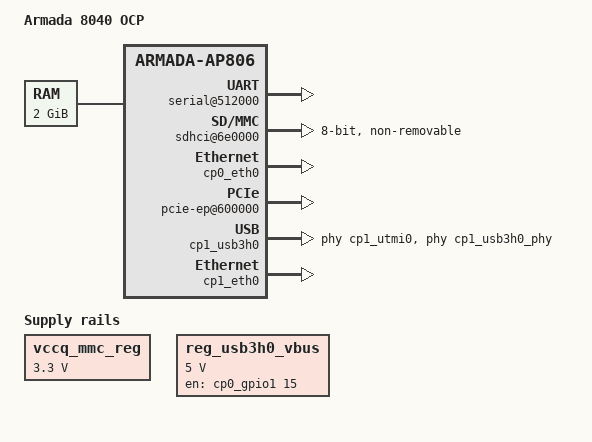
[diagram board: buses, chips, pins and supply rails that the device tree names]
/*
 * Copyright (C) 2017 Marvell Technology Group Ltd.
 *
 * This file is dual-licensed: you can use it either under the terms
 * of the GPLv2 or the X11 license, at your option. Note that this dual
 * licensing only applies to this file, and not this project as a
 * whole.
 *
 *  a) This library is free software; you can redistribute it and/or
 *     modify it under the terms of the GNU General Public License as
 *     published by the Free Software Foundation; either version 2 of the
 *     License, or (at your option) any later version.
 *
 *     This library is distributed in the hope that it will be useful,
 *     but WITHOUT ANY WARRANTY; without even the implied warranty of
 *     MERCHANTABILITY or FITNESS FOR A PARTICULAR PURPOSE.  See the
 *     GNU General Public License for more details.
 *
 * Or, alternatively,
 *
 *  b) Permission is hereby granted, free of charge, to any person
 *     obtaining a copy of this software and associated documentation
 *     files (the "Software"), to deal in the Software without
 *     restriction, including without limitation the rights to use,
 *     copy, modify, merge, publish, distribute, sublicense, and/or
 *     sell copies of the Software, and to permit persons to whom the
 *     Software is furnished to do so, subject to the following
 *     conditions:
 *
 *     The above copyright notice and this permission notice shall be
 *     included in all copies or substantial portions of the Software.
 *
 *     THE SOFTWARE IS PROVIDED "AS IS", WITHOUT WARRANTY OF ANY KIND,
 *     EXPRESS OR IMPLIED, INCLUDING BUT NOT LIMITED TO THE WARRANTIES
 *     OF MERCHANTABILITY, FITNESS FOR A PARTICULAR PURPOSE AND
 *     NONINFRINGEMENT. IN NO EVENT SHALL THE AUTHORS OR COPYRIGHT
 *     HOLDERS BE LIABLE FOR ANY CLAIM, DAMAGES OR OTHER LIABILITY,
 *     WHETHER IN AN ACTION OF CONTRACT, TORT OR OTHERWISE, ARISING
 *     FROM, OUT OF OR IN CONNECTION WITH THE SOFTWARE OR THE USE OR
 *     OTHER DEALINGS IN THE SOFTWARE.
 */

/*
 * Device Tree file for OCP Armada 8040 board platform
 */

#include "armada-8040.dtsi"

/ {
	model = "Armada 8040 OCP";
	compatible = "marvell,armada8040-ocp", "marvell,armada8040",
			"marvell,armada-ap806-quad", "marvell,armada-ap806";

	memory@00000000 {
		device_type = "memory";
		reg = <0x0 0x0 0x0 0x80000000>;
	};

	aliases {
		ethernet0 = &cp0_emac0;
		ethernet1 = &cp1_emac0;
	};

	ap806 {
		config-space {
			serial@512000 {
				status = "okay";
			};
			sdhci@6e0000 {
				vqmmc-supply = <&vccq_mmc_reg>;
				bus-width = <8>;
				no-1-8-v;
				non-removable;
				marvell,xenon-emmc;
				pinctrl-names = "default";
				pinctrl-0 = <&ap_emmc_pins>;
				status = "okay";
			};
			vccq_mmc_reg: regulator@0 {
				compatible = "regulator-fixed";
				regulator-name = "vccq-mmc-reg";
				regulator-min-microvolt = <3300000>;
				regulator-max-microvolt = <3300000>;
				regulator-always-on;
				status = "okay";
			};
		};
	};

	cp0 {
		config-space {
			pinctrl@440000 {
				xhci0_vbus_pins: xhci0-vbus-pins {
					marvell,pins = "mpp47";
					marvell,function = "gpio";
				};
			};
			cp0_comphy: comphy {
				skip_pcie_power_off;
			};
			i2c@701000 {
				clock-frequency = <100000>;
				pinctrl-names = "default";
				pinctrl-0 = <&cp0_i2c0_pins>;
				status = "disabled";
			};
			gop {
				cp0_emac0: mac0 {
					phys = <&cp0_comphy 4 COMPHY_SFI>;
					phy-names = "comphy";
					phy-mode = "sfi"; /* lane-4 */
				};
				cp0_emac2: mac2 {
					phy-mode = "none";
				};
				cp0_emac3: mac3 {
					phy-mode = "none";
				};
			};
			ppv22@000000 {
				l4_chksum_jumbo_port = <0>;
				pinctrl-names = "default";
				cp0_eth0: eth0@010000 {
					status = "okay";
				};
			};
			reg_usb3h0_vbus: usb3-vbus0 {
				compatible = "regulator-fixed";
				pinctrl-names = "default";
				pinctrl-0 = <&xhci0_vbus_pins>;
				regulator-name = "reg-usb3h0-vbus";
				regulator-min-microvolt = <5000000>;
				regulator-max-microvolt = <5000000>;
				enable-active-high;
				gpio = <&cp0_gpio1 15 GPIO_ACTIVE_HIGH>;
				status = "okay";
			};
		};

		pci-ep-uio {
			compatible = "marvell,pci-ep-uio";
			reg = <0 0 0 0x100000>, <0x80 0x00000000 0x8 0x000000000>;
			reg-names = "bar0", "host-map";
			device-id = <0x7080>;
			class-code = <0x2>;
			subclass-code = <0x0>;
			status = "okay";
		};

		pcie-ep@600000 {
			status = "okay";
		};
	};

	cp1 {
		config-space {
			/* cp1_usb3h0 is USB2 only (UTMI) */
			cp1_usb3h0: usb3@500000 {
				usb-phy = <&cp1_usb3h0_phy>;
				phys = <&cp1_utmi0>;
				phy-names = "usb";
				status = "okay";
			};
			cp1_usb3h0_phy: usb3_phy0 {
				compatible = "usb-nop-xceiv";
				vcc-supply = <&reg_usb3h0_vbus>;
			};
			cp1_utmi0: utmi@580000 {
				status = "okay";
			};
			gop {
				cp1_emac0: mac0 {
					phys = <&cp1_comphy 4 COMPHY_SGMII0>;
					phy-names = "comphy";
					phy-mode = "sgmii"; /* lane-4 */
				};
				cp1_emac2: mac2 {
					phy-mode = "none";
				};
				cp1_emac3: mac3 {
					phy-mode = "none";
				};
			};
			ppv22@000000 {
				l4_chksum_jumbo_port = <0>;
				pinctrl-names = "default";
				cp1_eth0: eth0@010000 {
					status = "okay";
				};
				cp1_eth1: eth1@020000 {
					status = "disabled";
				};
				cp1_eth2: eth2@030000 {
					status = "disabled";
				};
			};
		};
	};
};

